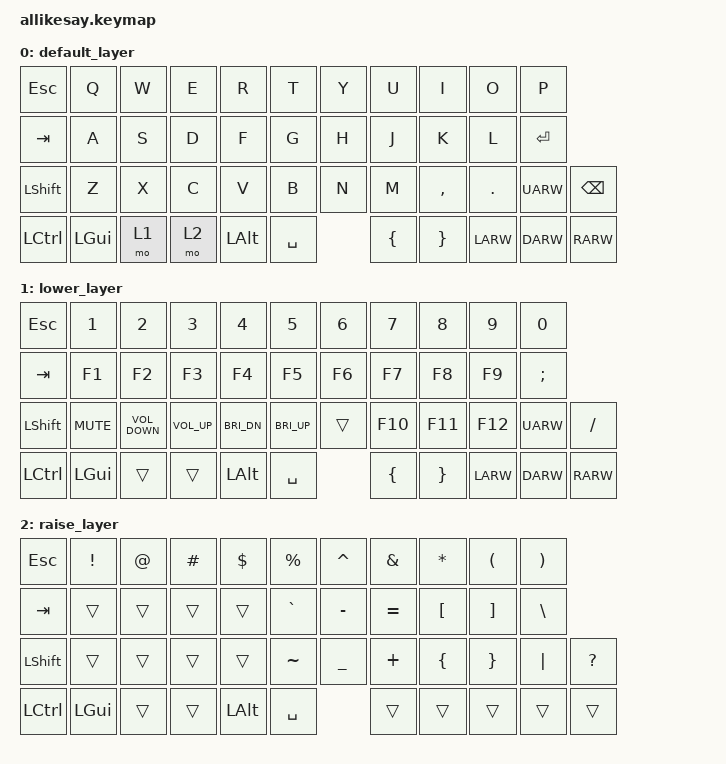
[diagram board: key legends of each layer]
/*
 * Copyright (c) 2020 The ZMK Contributors
 *
 * SPDX-License-Identifier: MIT
 */

#include <behaviors.dtsi>
#include <dt-bindings/zmk/keys.h>
#include <dt-bindings/zmk/bt.h>

/ {
        keymap {
                compatible = "zmk,keymap";

                default_layer {
// -----------------------------------------------------------------------------------------
// | ESC |  Q  |  W  |  E  |  R  |  T  |  Y  |  U   |  I  |  O   |  P   |
// | TAB |  A  |  S  |  D  |  F  |  G  |  H  |  J   |  K  |  L   | ENT  |
// | SHFT|  Z  |  X  |  C  |  V  |  B  |  N  |  M   |  ,  |  .   | UARW | BKSP |
// | CTRL| GUI | num | ins | ALT |     SPC   |  {   |  }  | LARW | DARW | RARW |
                        bindings = <
   &kp ESC   &kp Q     &kp W   &kp E  &kp R    &kp T       &kp Y     &kp U    &kp I      &kp O     &kp P    
   &kp TAB   &kp A     &kp S   &kp D  &kp F    &kp G       &kp H     &kp J    &kp K      &kp L     &kp RET 
   &kp LSHFT &kp Z     &kp X   &kp C  &kp V    &kp B       &kp N     &kp M    &kp COMMA  &kp DOT   &kp UARW &kp BSPC
   &kp LCTRL &kp LGUI  &mo 1   &mo 2  &kp LALT &kp SPACE             &kp LBRC  &kp RBRC  &kp LARW  &kp DARW &kp RARW
                        >;
                };
                lower_layer {
// | ESC |  1  |  2  |  3  |  4  |  5  |  6  |  7   |  8  |  9  |  0  |
// | TAB | f1  | f2  | f3  | f4  | f5  | f6  | f7   | f8  | f9  |  ;  |
// | SHFT|mute |vdown| vup |     | brdn| brup| f10  | f11 | f12 | UARW | /   |
// | CTRL| GUI |     |     | ALT |    SPC    |  [   |  ]  | LARW| DARW | RARW|
                        bindings = <
   &kp ESC   &kp N1     &kp N2             &kp N3             &kp N4       &kp N5       &kp N6     &kp N7    &kp N8      &kp N9     &kp N0    
   &kp TAB   &kp F1     &kp F2             &kp F3             &kp F4       &kp F5       &kp F6     &kp F7    &kp F8      &kp F9     &kp SEMI 
   &kp LSHFT &kp C_MUTE &kp C_VOLUME_DOWN  &kp C_VOLUME_UP    &kp C_BRI_DN &kp C_BRI_UP &trans     &kp F10   &kp F11     &kp F12    &kp UARW   &kp FSLH
   &kp LCTRL &kp LGUI   &trans             &trans             &kp LALT     &kp SPACE               &kp LBRC  &kp RBRC    &kp LARW   &kp DARW   &kp RARW
                        >;
                };

                raise_layer {
// -----------------------------------------------------------------------------------------
// | ESC  |  !  |  @  |  #  |  $  |  %  |  ^  |  &  |  *  |  (  |  )  |
// | TAB  |     |     |     |     |  `  |  -  |  =  |  [  |  ]  |  \  |
// | SHFT |     |     |     |     |  ~  |  _  |  +  |  {  |  }  | "|" |  ?   |
// | CTRL | GUI |     |     | ALT |    SPC    |     |     |     |     |      |
                        bindings = <
   &kp ESC   &kp EXCL &kp AT &kp HASH &kp DLLR  &kp PRCNT   &kp CARET &kp AMPS  &kp ASTRK &kp LPAR &kp RPAR
   &kp TAB   &trans   &trans &trans   &trans    &kp GRAVE   &kp MINUS &kp EQUAL &kp LBKT  &kp RBKT &kp BSLH 
   &kp LSHFT &trans   &trans &trans   &trans    &kp TILDE   &kp UNDER &kp PLUS  &kp LBRC  &kp RBRC &kp PIPE &kp QMARK
   &kp LCTRL &kp LGUI &trans &trans   &kp LALT  &kp SPACE             &trans    &trans    &trans   &trans   &trans
                        >;
                };
        };
};
